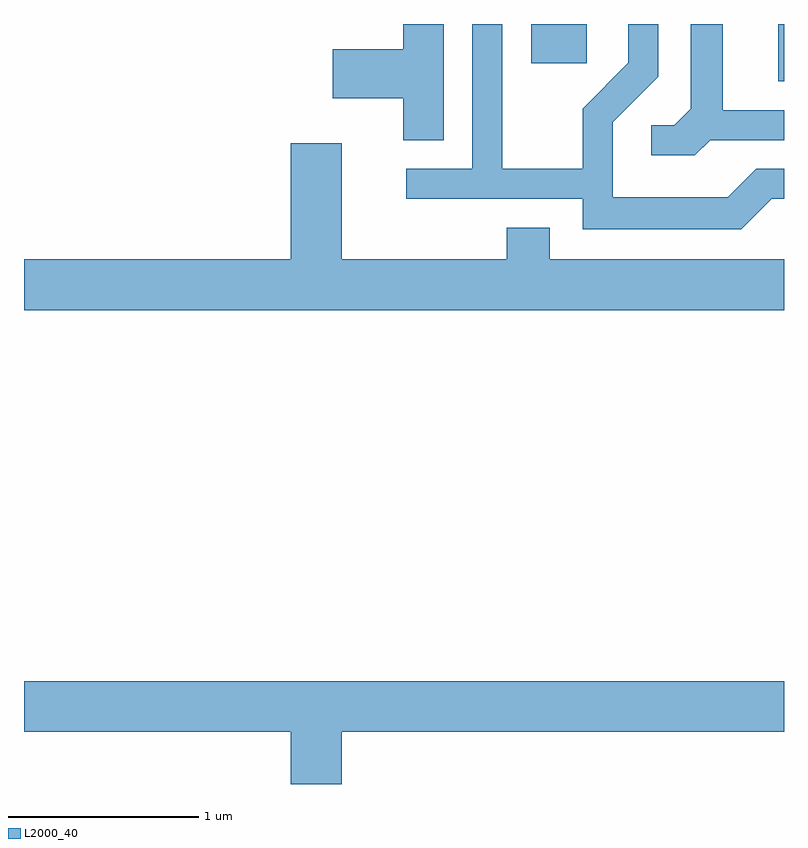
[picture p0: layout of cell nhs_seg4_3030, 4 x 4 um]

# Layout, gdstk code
import gdstk
lib = gdstk.Library(unit=1e-6, precision=1e-09)
def R(c, l, rs):  # rectangles x0, y0, x1, y1
    for r in rs: c.add(gdstk.rectangle(r[:2], r[2:], *l))
def P(c, l, *ps):  # polygons
    for p in ps: c.add(gdstk.Polygon(p, *l))
L2000_40 = (2000, 40)

nhs_seg4_3030 = lib.new_cell('nhs_seg4_3030')
R(nhs_seg4_3030, L2000_40, [(277.581,1333.681,277.611,1333.982), (276.281,1333.776,276.574,1333.982)])
P(nhs_seg4_3030, L2000_40, [(275.819,1333.982),(275.606,1333.982),(275.606,1333.849),(275.236,1333.849),(275.236,1333.591),(275.606,1333.591),(275.606,1333.371),(275.819,1333.371)],
  [(277.547,1333.061),(277.611,1333.061),(277.611,1333.219),(277.464,1333.219),(277.314,1333.069),(276.709,1333.069),(276.709,1333.464),(276.949,1333.704),(276.949,1333.982),(276.791,1333.982),(276.791,1333.777),(276.551,1333.537),(276.551,1333.219),(276.129,1333.219),(276.129,1333.982),(275.971,1333.982),(275.971,1333.219),(275.623,1333.219),(275.623,1333.061),(276.551,1333.061),(276.551,1332.901),(277.387,1332.901)],
  [(277.222,1333.371),(277.611,1333.371),(277.611,1333.529),(277.289,1333.529),(277.289,1333.982),(277.121,1333.982),(277.121,1333.537),(277.034,1333.449),(276.913,1333.449),(276.913,1333.291),(277.142,1333.291)],
  [(277.611,1332.744),(276.379,1332.744),(276.379,1332.909),(276.151,1332.909),(276.151,1332.744),(275.284,1332.744),(275.284,1333.354),(275.016,1333.354),(275.016,1332.744),(273.611,1332.744),(273.611,1332.476),(277.611,1332.476)],
  [(275.284,1330.256),(277.611,1330.256),(277.611,1330.524),(273.611,1330.524),(273.611,1330.256),(275.016,1330.256),(275.016,1329.982),(275.284,1329.982)])

lib.write_gds('nhs_seg4_3030.gds')
